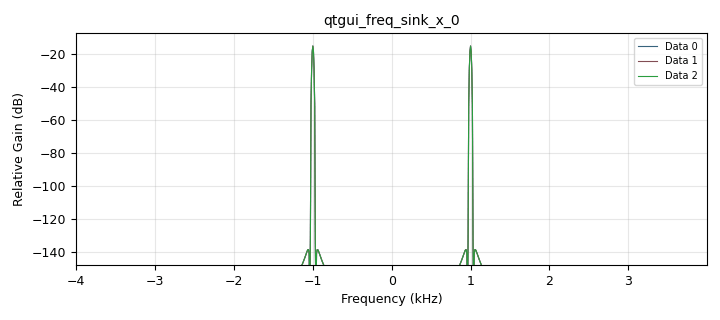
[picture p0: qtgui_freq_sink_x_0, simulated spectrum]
<?xml version='1.0' encoding='utf-8'?>
<?grc format='1' created='3.7.10'?>
<flow_graph>
<block>
<key>options</key>
<param><key>id</key><value>top_block</value></param>
<param><key>generate_options</key><value>qt_gui</value></param>
</block>
<block>
<key>variable</key>
<param><key>id</key><value>samp_rate_0</value></param>
<param><key>value</key><value>8000</value></param>
</block>
<block>
<key>analog_sig_source_x</key>
<param><key>id</key><value>analog_sig_source_x_0</value></param>
<param><key>amp</key><value>1</value></param>
<param><key>freq</key><value>1000</value></param>
<param><key>offset</key><value>0</value></param>
<param><key>type</key><value>float</value></param>
<param><key>samp_rate</key><value>8000</value></param>
<param><key>waveform</key><value>analog.GR_COS_WAVE</value></param>
</block>
<block>
<key>analog_sig_source_x</key>
<param><key>id</key><value>analog_sig_source_x_1</value></param>
<param><key>amp</key><value>1</value></param>
<param><key>freq</key><value>9000</value></param>
<param><key>offset</key><value>0</value></param>
<param><key>type</key><value>float</value></param>
<param><key>samp_rate</key><value>8000</value></param>
<param><key>waveform</key><value>analog.GR_COS_WAVE</value></param>
</block>
<block>
<key>analog_sig_source_x</key>
<param><key>id</key><value>analog_sig_source_x_1_0</value></param>
<param><key>amp</key><value>1</value></param>
<param><key>freq</key><value>15000</value></param>
<param><key>offset</key><value>0</value></param>
<param><key>type</key><value>float</value></param>
<param><key>samp_rate</key><value>8000</value></param>
<param><key>waveform</key><value>analog.GR_COS_WAVE</value></param>
</block>
<block>
<key>blocks_throttle</key>
<param><key>id</key><value>blocks_throttle_0</value></param>
<param><key>samples_per_second</key><value>8000</value></param>
<param><key>type</key><value>float</value></param>
</block>
<block>
<key>blocks_throttle</key>
<param><key>id</key><value>blocks_throttle_1</value></param>
<param><key>samples_per_second</key><value>8000</value></param>
<param><key>type</key><value>float</value></param>
</block>
<block>
<key>blocks_throttle</key>
<param><key>id</key><value>blocks_throttle_1_0</value></param>
<param><key>samples_per_second</key><value>8000</value></param>
<param><key>type</key><value>float</value></param>
</block>
<block>
<key>qtgui_freq_sink_x</key>
<param><key>id</key><value>qtgui_freq_sink_x_0</value></param>
<param><key>autoscale</key><value>True</value></param>
<param><key>bw</key><value>samp_rate_0</value></param>
<param><key>fc</key><value>0</value></param>
<param><key>fftsize</key><value>1024</value></param>
<param><key>grid</key><value>True</value></param>
<param><key>label2</key><value></value></param>
<param><key>label3</key><value></value></param>
<param><key>nconnections</key><value>3</value></param>
<param><key>showports</key><value>True</value></param>
<param><key>type</key><value>float</value></param>
<param><key>wintype</key><value>firdes.WIN_BLACKMAN_hARRIS</value></param>
</block>
<connection><source_block_id>analog_sig_source_x_0</source_block_id><sink_block_id>blocks_throttle_0</sink_block_id><source_key>0</source_key><sink_key>0</sink_key></connection>
<connection><source_block_id>analog_sig_source_x_1</source_block_id><sink_block_id>blocks_throttle_1</sink_block_id><source_key>0</source_key><sink_key>0</sink_key></connection>
<connection><source_block_id>analog_sig_source_x_1_0</source_block_id><sink_block_id>blocks_throttle_1_0</sink_block_id><source_key>0</source_key><sink_key>0</sink_key></connection>
<connection><source_block_id>blocks_throttle_0</source_block_id><sink_block_id>qtgui_freq_sink_x_0</sink_block_id><source_key>0</source_key><sink_key>0</sink_key></connection>
<connection><source_block_id>blocks_throttle_1</source_block_id><sink_block_id>qtgui_freq_sink_x_0</sink_block_id><source_key>0</source_key><sink_key>1</sink_key></connection>
<connection><source_block_id>blocks_throttle_1_0</source_block_id><sink_block_id>qtgui_freq_sink_x_0</sink_block_id><source_key>0</source_key><sink_key>2</sink_key></connection>
</flow_graph>
